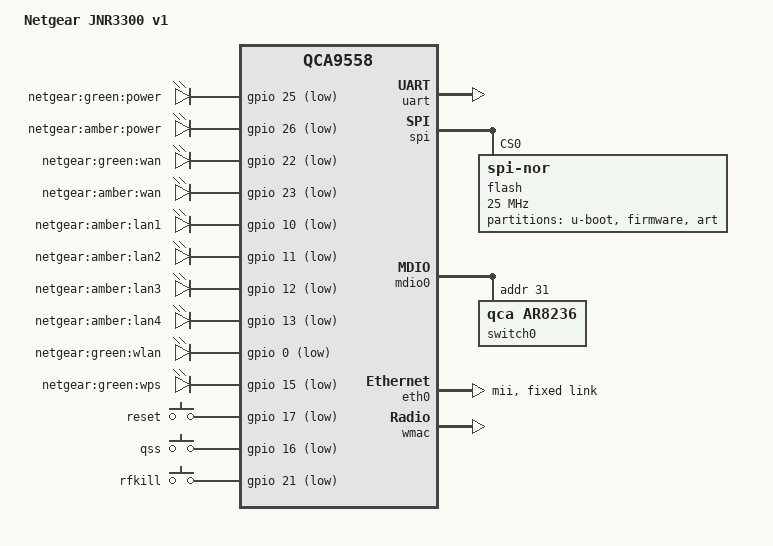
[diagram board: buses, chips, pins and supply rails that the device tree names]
// SPDX-License-Identifier: GPL-2.0-or-later OR MIT
/dts-v1/;

#include <dt-bindings/gpio/gpio.h>
#include <dt-bindings/input/input.h>

#include "qca9557.dtsi"

/ {
	compatible = "netgear,jnr3300-v1", "qca,qca9558";
	model = "Netgear JNR3300 v1";

	chosen {
		bootargs = "console=ttyS0,115200n8";
	};

	aliases {
		led-boot = &led_system;
		led-failsafe = &led_system;
		led-running = &led_system;
		led-upgrade = &led_system;
		label-mac-device = &eth0;
	};

	leds {
		compatible = "gpio-leds";

		led_system: power_green {
			label = "netgear:green:power";
			gpios = <&gpio 25 GPIO_ACTIVE_LOW>;
			default-state = "on";
		};

		power_amber {
            label = "netgear:amber:power";
            gpios = <&gpio 26 GPIO_ACTIVE_LOW>;
        };

        wan_green {
            label = "netgear:green:wan";
            gpios = <&gpio 22 GPIO_ACTIVE_LOW>;
        };

        wan_amber {
            label = "netgear:amber:wan";
            gpios = <&gpio 23 GPIO_ACTIVE_LOW>;
        };

        lan1_amber {
            label = "netgear:amber:lan1";
            gpios = <&gpio 10 GPIO_ACTIVE_LOW>;
        };

        lan2_amber {
            label = "netgear:amber:lan2";
            gpios = <&gpio 11 GPIO_ACTIVE_LOW>;
        };

        lan3_amber {
            label = "netgear:amber:lan3";
            gpios = <&gpio 12 GPIO_ACTIVE_LOW>;
        };

        lan4_amber {
            label = "netgear:amber:lan4";
            gpios = <&gpio 13 GPIO_ACTIVE_LOW>;
        };

		wlan {
			label = "netgear:green:wlan";
			gpios = <&gpio 0 GPIO_ACTIVE_LOW>;
			linux,default-trigger = "phy0tpt";
		};

		wps {
			label = "netgear:green:wps";
			gpios = <&gpio 15 GPIO_ACTIVE_LOW>;
		};
	};

	keys {
		compatible = "gpio-keys";

		reset {
			label = "reset";
			linux,code = <KEY_RESTART>;
			gpios = <&gpio 17 GPIO_ACTIVE_LOW>;
			debounce-interval = <60>;
		};

		wps {
			label = "qss";
			linux,code = <KEY_WPS_BUTTON>;
			gpios = <&gpio 16 GPIO_ACTIVE_LOW>;
			debounce-interval = <60>;
		};

		rfkill {
            label = "rfkill";
            linux,code = <KEY_RFKILL>;
            gpios = <&gpio 21 GPIO_ACTIVE_LOW>;
            debounce-interval = <60>;
        };
	};
};

&uart {
	status = "okay";
};

&spi {
	status = "okay";
	num-cs = <1>;

	flash@0 {
		compatible = "jedec,spi-nor";
		reg = <0>;
		spi-max-frequency = <25000000>;

		partitions {
			compatible = "fixed-partitions";
			#address-cells = <1>;
			#size-cells = <1>;

			uboot: partition@0 {
				label = "u-boot";
				reg = <0x000000 0x020000>;
				read-only;
			};

			partition@20000 {
				compatible = "tplink,firmware";
				label = "firmware";
				reg = <0x020000 0x7d0000>;
			};

			art: partition@7f0000 {
				label = "art";
				reg = <0x7f0000 0x010000>;
				read-only;
			};
		};
	};
};

&mdio0 {
	status = "okay";

	switch0@1f {
		compatible = "qca,ar8236";
		reg = <0x1f>;
	};
};

&eth0 {
	status = "okay";
	phy-mode = "mii";
	mtd-mac-address = <&uboot 0x1fc00>;
	fixed-link {
		speed = <100>;
		full-duplex;
	};
};

&wmac {
	status = "okay";
	mtd-cal-data = <&art 0x1000>;
	mtd-mac-address = <&uboot 0x1fc00>;
};
